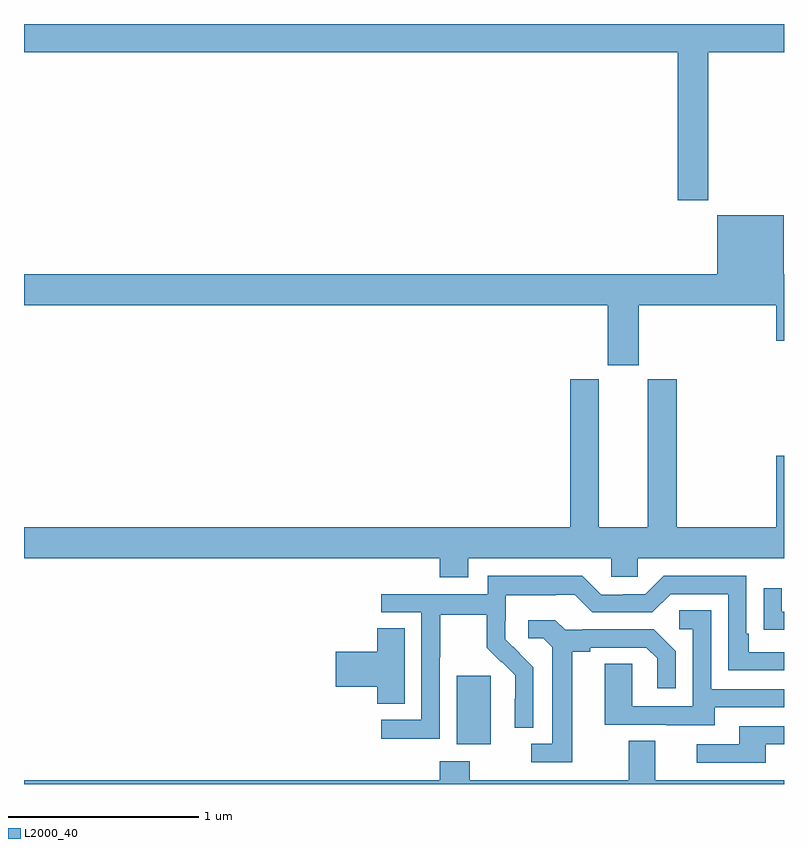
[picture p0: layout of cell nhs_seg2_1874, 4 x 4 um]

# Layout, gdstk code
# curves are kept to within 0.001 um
import gdstk
lib = gdstk.Library(unit=1e-6, precision=1e-09)
def R(c, l, rs):  # rectangles x0, y0, x1, y1
    for r in rs: c.add(gdstk.rectangle(r[:2], r[2:], *l))
def P(c, l, *ps):  # polygons
    for p in ps: c.add(gdstk.Polygon(p, *l))
L2000_40 = (2000, 40)

nhs_seg2_1874 = lib.new_cell('nhs_seg2_1874')
R(nhs_seg2_1874, L2000_40, [(211.277,628.01,211.456,628.371)])
P(nhs_seg2_1874, L2000_40, [(212.601,631.652),(213,631.652),(213,631.8),(209,631.8),(209,631.652),(212.441,631.652),(212.441,630.873),(212.601,630.873)],
  [(212.236,630.32),(212.96,630.32),(212.96,630.132),(213,630.132),(213,630.484),(212.998,630.484),(212.998,630.793),(212.648,630.793),(212.648,630.484),(209,630.484),(209,630.32),(212.072,630.32),(212.072,630.003),(212.236,630.003)],
  [(212.091,628.89),(212.229,628.89),(212.229,628.988),(213,628.988),(213,629.527),(212.96,629.527),(212.96,629.152),(212.435,629.152),(212.435,629.931),(212.282,629.931),(212.282,629.152),(212.026,629.152),(212.026,629.931),(211.874,629.931),(211.874,629.152),(209,629.152),(209,628.988),(211.187,628.988),(211.187,628.889),(211.339,628.889),(211.339,628.988),(212.091,628.988)],
  [(211.188,628.468),(211.191,628.468),(211.191,628.692),(211.435,628.692),(211.435,628.517),(211.512,628.44),(211.515,628.443),(211.586,628.373),(211.586,628.25),(211.584,628.25),(211.584,628.096),(211.68,628.096),(211.68,628.414),(211.534,628.562),(211.534,628.659),(211.536,628.659),(211.536,628.793),(211.799,628.793),(211.799,628.797),(211.899,628.797),(211.992,628.704),(212.307,628.704),(212.403,628.8),(212.706,628.8),(212.706,628.398),(213,628.398),(213,628.494),(212.815,628.494),(212.815,628.591),(212.802,628.591),(212.802,628.896),(212.367,628.896),(212.271,628.8),(212.153,628.8),(212.153,628.797),(212.037,628.797),(211.937,628.897),(211.44,628.897),(211.44,628.8),(210.879,628.8),(210.879,628.704),(211.092,628.704),(211.092,628.137),(210.879,628.137),(210.879,628.039),(211.188,628.039)],
  [(213,628.707),(212.989,628.707),(212.989,628.831),(212.893,628.831),(212.893,628.612),(212.995,628.612),(212.995,628.611),(213,628.611)],
  [(212.635,628.203),(213,628.203),(213,628.299),(212.616,628.299),(212.616,628.715),(212.448,628.715),(212.448,628.614),(212.52,628.614),(212.52,628.209),(212.202,628.209),(212.202,628.433),(212.057,628.433),(212.057,628.113),(212.381,628.113),(212.381,628.109),(212.635,628.109)],
  [(211.885,628.496),(211.981,628.496),(211.981,628.518),(212.276,628.518),(212.333,628.461),(212.333,628.305),(212.43,628.305),(212.43,628.498),(212.314,628.614),(211.942,628.614),(211.942,628.611),(211.848,628.611),(211.796,628.663),(211.653,628.663),(211.653,628.566),(211.734,628.566),(211.781,628.519),(211.781,628.011),(211.671,628.011),(211.671,627.915),(211.885,627.915)],
  [(211.003,628.619),(210.86,628.619),(210.86,628.496),(210.642,628.496),(210.642,628.313),(210.86,628.313),(210.86,628.222),(211.003,628.222)],
  [(212.905,628.008),(213,628.008),(213,628.104),(212.765,628.104),(212.765,628.008),(212.541,628.008),(212.541,627.912),(212.905,627.912)],
  [(213,627.82),(212.323,627.82),(212.323,628.028),(212.183,628.028),(212.183,627.82),(211.347,627.82),(211.347,627.919),(211.187,627.919),(211.187,627.82),(209,627.82),(209,627.8),(213,627.8)])

lib.write_gds('nhs_seg2_1874.gds')
